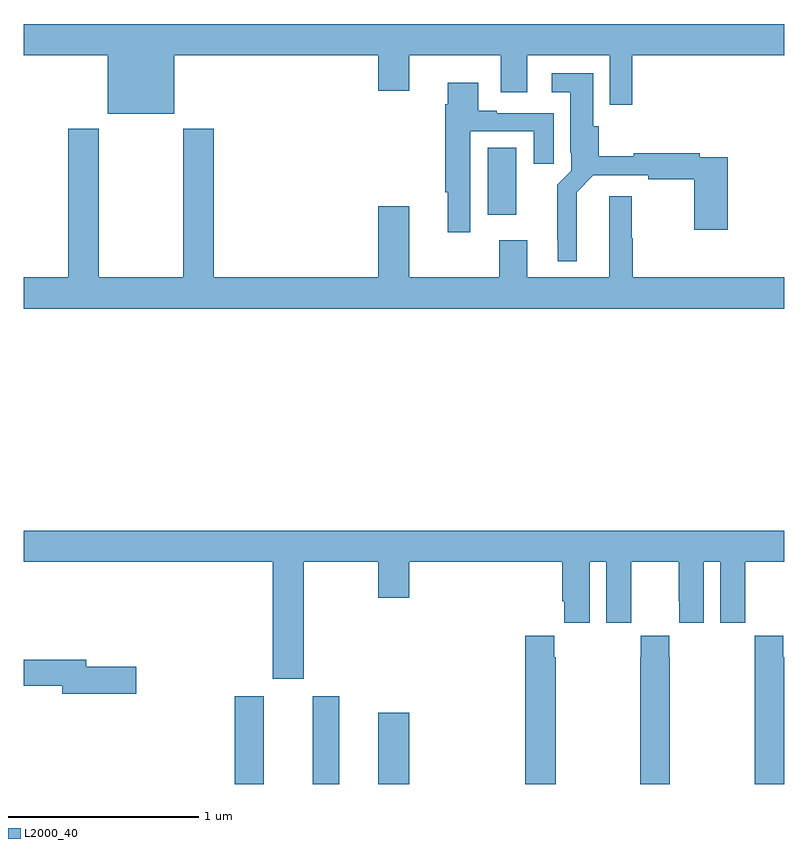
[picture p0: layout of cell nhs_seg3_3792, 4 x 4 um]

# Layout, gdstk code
import gdstk
lib = gdstk.Library(unit=1e-6, precision=1e-09)
def R(c, l, rs):  # rectangles x0, y0, x1, y1
    for r in rs: c.add(gdstk.rectangle(r[:2], r[2:], *l))
def P(c, l, *ps):  # polygons
    for p in ps: c.add(gdstk.Polygon(p, *l))
L2000_40 = (2000, 40)

nhs_seg3_3792 = lib.new_cell('nhs_seg3_3792')
R(nhs_seg3_3792, L2000_40, [(308.111,714.4,308.263,714.862), (308.519,714.4,308.659,714.862), (308.864,714.4,309.028,714.775), (309.44,717.393,309.589,717.746)])
P(nhs_seg3_3792, L2000_40, [(307.792,718.232),(308.864,718.232),(308.864,718.044),(309.028,718.044),(309.028,718.232),(309.509,718.232),(309.509,718.038),(309.649,718.038),(309.649,718.232),(310.083,718.232),(310.083,717.972),(310.199,717.972),(310.199,718.232),(311,718.232),(311,718.396),(307,718.396),(307,718.232),(307.442,718.232),(307.442,717.923),(307.792,717.923)],
  [(309.907,717.512),(309.994,717.6),(310.285,717.6),(310.285,717.58),(310.525,717.58),(310.525,717.315),(310.703,717.315),(310.703,717.696),(310.556,717.696),(310.556,717.716),(310.208,717.716),(310.208,717.701),(310.025,717.701),(310.025,717.858),(309.994,717.858),(309.994,718.138),(309.777,718.138),(309.777,718.037),(309.875,718.037),(309.875,717.718),(309.879,717.718),(309.879,717.624),(309.805,717.55),(309.805,717.259),(309.809,717.259),(309.809,717.149),(309.907,717.149)],
  [(309.349,717.831),(309.683,717.831),(309.683,717.66),(309.787,717.66),(309.787,717.927),(309.487,717.927),(309.487,717.94),(309.391,717.94),(309.391,718.087),(309.23,718.087),(309.23,717.974),(309.218,717.974),(309.218,717.512),(309.23,717.512),(309.23,717.3),(309.349,717.3)],
  [(311,717.064),(310.202,717.064),(310.202,717.269),(310.197,717.269),(310.197,717.49),(310.079,717.49),(310.079,717.064),(309.649,717.064),(309.649,717.259),(309.502,717.259),(309.502,717.064),(309.028,717.064),(309.028,717.439),(308.864,717.439),(308.864,717.064),(308,717.064),(308,717.844),(307.84,717.844),(307.84,717.064),(307.395,717.064),(307.395,717.844),(307.235,717.844),(307.235,717.064),(307,717.064),(307,716.9),(311,716.9)],
  [(308.473,715.568),(308.864,715.568),(308.864,715.38),(309.028,715.38),(309.028,715.568),(309.833,715.568),(309.833,715.36),(309.842,715.36),(309.842,715.248),(309.976,715.248),(309.976,715.568),(310.064,715.568),(310.064,715.248),(310.194,715.248),(310.194,715.36),(310.195,715.36),(310.195,715.568),(310.445,715.568),(310.445,715.36),(310.446,715.36),(310.446,715.248),(310.576,715.248),(310.576,715.568),(310.664,715.568),(310.664,715.248),(310.794,715.248),(310.794,715.36),(310.795,715.36),(310.795,715.568),(311,715.568),(311,715.732),(307,715.732),(307,715.568),(308.309,715.568),(308.309,714.954),(308.473,714.954)],
  [(310.998,715.067),(310.995,715.067),(310.995,715.18),(310.845,715.18),(310.845,715.067),(310.843,715.067),(310.843,714.4),(310.998,714.4)],
  [(307.591,715.016),(307.33,715.016),(307.33,715.052),(307,715.052),(307,714.916),(307.202,714.916),(307.202,714.874),(307.591,714.874)],
  [(310.398,715.067),(310.395,715.067),(310.395,715.18),(310.245,715.18),(310.245,715.067),(310.243,715.067),(310.243,714.4),(310.398,714.4)],
  [(309.798,715.067),(309.791,715.067),(309.791,715.18),(309.638,715.18),(309.638,714.4),(309.798,714.4)])

lib.write_gds('nhs_seg3_3792.gds')
